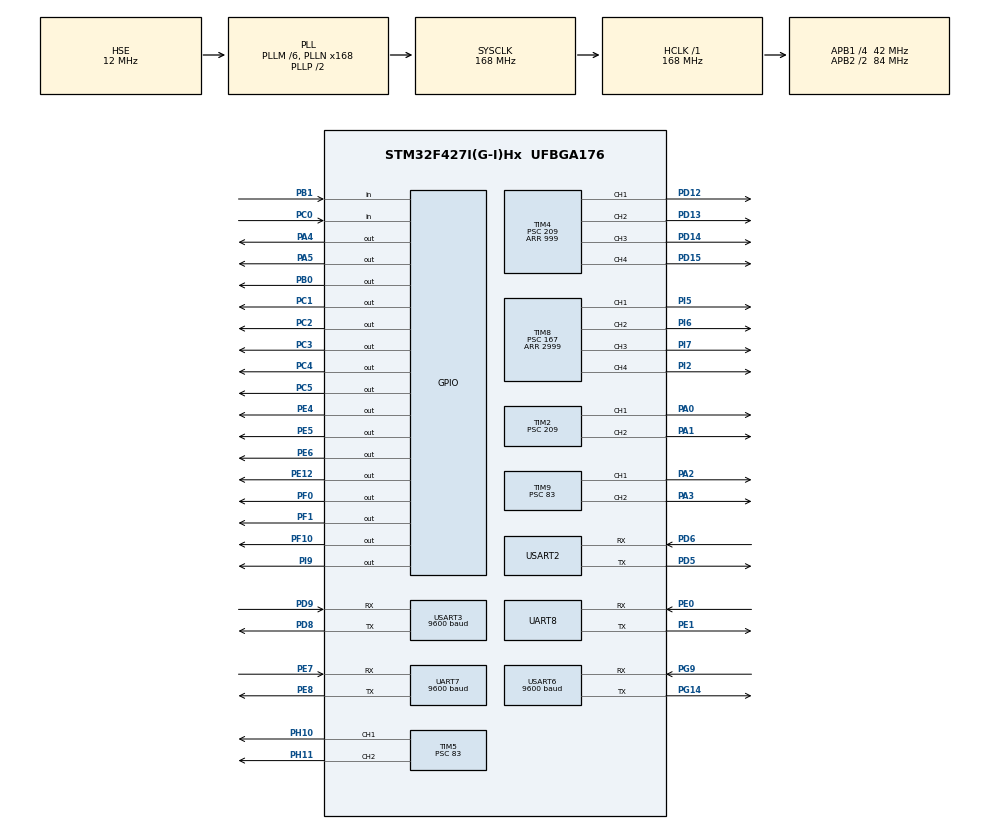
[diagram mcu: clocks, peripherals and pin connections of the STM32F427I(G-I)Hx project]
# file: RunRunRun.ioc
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Dma.Request0=UART7_TX
Dma.UART7_TX.0.Direction=DMA_MEMORY_TO_PERIPH
Dma.UART7_TX.0.FIFOMode=DMA_FIFOMODE_DISABLE
Dma.UART7_TX.0.Instance=DMA1_Stream1
Dma.UART7_TX.0.MemDataAlignment=DMA_MDATAALIGN_BYTE
Dma.UART7_TX.0.MemInc=DMA_MINC_ENABLE
Dma.UART7_TX.0.Mode=DMA_NORMAL
Dma.UART7_TX.0.PeriphDataAlignment=DMA_PDATAALIGN_BYTE
Dma.UART7_TX.0.PeriphInc=DMA_PINC_DISABLE
Dma.UART7_TX.0.Priority=DMA_PRIORITY_LOW
Mcu.Family=STM32F4
Mcu.Name=STM32F427I(G-I)Hx
Mcu.Package=UFBGA176
NVIC.DMA1_Stream1_IRQn=true\:0\:0\:false\:false\:true\:false\:true\:true
NVIC.PriorityGroup=NVIC_PRIORITYGROUP_4
NVIC.TIM1_UP_TIM10_IRQn=true\:0\:0\:false\:false\:true\:true\:true\:true
NVIC.UART7_IRQn=true\:0\:0\:false\:false\:true\:true\:true\:true
NVIC.USART2_IRQn=true\:0\:0\:false\:false\:true\:true\:true\:true
NVIC.USART3_IRQn=true\:0\:0\:false\:false\:true\:true\:true\:true
NVIC.USART6_IRQn=true\:0\:0\:false\:false\:true\:true\:true\:true
PA0/WKUP.Signal=S_TIM2_CH1_ETR
PA1.Signal=S_TIM2_CH2
PA13.Mode=Serial_Wire
PA13.Signal=SYS_JTMS-SWDIO
PA14.Mode=Serial_Wire
PA14.Signal=SYS_JTCK-SWCLK
PA2.Signal=S_TIM9_CH1
PA3.Signal=S_TIM9_CH2
PA4.Signal=GPIO_Output
PA5.Signal=GPIO_Output
PB0.Signal=GPIO_Output
PB1.Signal=GPIO_Input
PC0.Signal=GPIO_Input
PC1.Signal=GPIO_Output
PC2.Signal=GPIO_Output
PC3.Signal=GPIO_Output
PC4.Signal=GPIO_Output
PC5.Signal=GPIO_Output
PD12.Signal=S_TIM4_CH1
PD13.Signal=S_TIM4_CH2
PD14.Signal=S_TIM4_CH3
PD15.Signal=S_TIM4_CH4
PD5.Mode=Asynchronous
PD5.Signal=USART2_TX
PD6.Mode=Asynchronous
PD6.Signal=USART2_RX
PD8.Mode=Asynchronous
PD8.Signal=USART3_TX
PD9.Mode=Asynchronous
PD9.Signal=USART3_RX
PE0.Mode=Asynchronous
PE0.Signal=UART8_RX
PE1.Mode=Asynchronous
PE1.Signal=UART8_TX
PE12.Signal=GPIO_Output
PE4.Signal=GPIO_Output
PE5.Signal=GPIO_Output
PE6.Signal=GPIO_Output
PE7.Mode=Asynchronous
PE7.Signal=UART7_RX
PE8.Mode=Asynchronous
PE8.Signal=UART7_TX
PF0.Signal=GPIO_Output
PF1.Signal=GPIO_Output
PF10.Signal=GPIO_Output
PG14.Mode=Asynchronous
PG14.Signal=USART6_TX
PG9.Mode=Asynchronous
PG9.Signal=USART6_RX
PH0/OSC_IN.Mode=HSE-External-Oscillator
PH0/OSC_IN.Signal=RCC_OSC_IN
PH1/OSC_OUT.Mode=HSE-External-Oscillator
PH1/OSC_OUT.Signal=RCC_OSC_OUT
PH10.Signal=S_TIM5_CH1
PH11.Signal=S_TIM5_CH2
PI2.Signal=S_TIM8_CH4
PI5.Signal=S_TIM8_CH1
PI6.Signal=S_TIM8_CH2
PI7.Signal=S_TIM8_CH3
PI9.Signal=GPIO_Output
ProjectManager.HeapSize=0x200
ProjectManager.StackSize=0x400
ProjectManager.TargetToolchain=MDK-ARM V5.32
RCC.48MHZClocksFreq_Value=84000000
RCC.AHBFreq_Value=168000000
RCC.APB1CLKDivider=RCC_HCLK_DIV4
RCC.APB1Freq_Value=42000000
RCC.APB1TimFreq_Value=84000000
RCC.APB2CLKDivider=RCC_HCLK_DIV2
RCC.APB2Freq_Value=84000000
RCC.APB2TimFreq_Value=168000000
RCC.CortexFreq_Value=168000000
RCC.HCLKFreq_Value=168000000
RCC.HSE_VALUE=12000000
RCC.HSI_VALUE=16000000
RCC.LSE_VALUE=32768
RCC.PLLM=6
RCC.PLLN=168
RCC.PLLSourceVirtual=RCC_PLLSOURCE_HSE
RCC.SYSCLKFreq_VALUE=168000000
RCC.SYSCLKSource=RCC_SYSCLKSOURCE_PLLCLK
RCC.VCOOutputFreq_Value=336000000
SH.S_TIM2_CH1_ETR.0=TIM2_CH1,PWM Generation1 CH1
SH.S_TIM2_CH2.0=TIM2_CH2,PWM Generation2 CH2
SH.S_TIM4_CH1.0=TIM4_CH1,PWM Generation1 CH1
SH.S_TIM4_CH2.0=TIM4_CH2,PWM Generation2 CH2
SH.S_TIM4_CH3.0=TIM4_CH3,PWM Generation3 CH3
SH.S_TIM4_CH4.0=TIM4_CH4,PWM Generation4 CH4
SH.S_TIM5_CH1.0=TIM5_CH1,PWM Generation1 CH1
SH.S_TIM5_CH2.0=TIM5_CH2,PWM Generation2 CH2
SH.S_TIM8_CH1.0=TIM8_CH1,PWM Generation1 CH1
SH.S_TIM8_CH2.0=TIM8_CH2,PWM Generation2 CH2
SH.S_TIM8_CH3.0=TIM8_CH3,PWM Generation3 CH3
SH.S_TIM8_CH4.0=TIM8_CH4,PWM Generation4 CH4
SH.S_TIM9_CH1.0=TIM9_CH1,Output Compare1 CH1
SH.S_TIM9_CH2.0=TIM9_CH2,Output Compare2 CH2
TIM10.Period=999
TIM10.Prescaler=999
TIM2.Channel-PWM\ Generation1\ CH1=TIM_CHANNEL_1
TIM2.Channel-PWM\ Generation2\ CH2=TIM_CHANNEL_2
TIM2.Period=999
TIM2.Prescaler=209
TIM4.Channel-PWM\ Generation1\ CH1=TIM_CHANNEL_1
TIM4.Channel-PWM\ Generation2\ CH2=TIM_CHANNEL_2
TIM4.Channel-PWM\ Generation3\ CH3=TIM_CHANNEL_3
TIM4.Channel-PWM\ Generation4\ CH4=TIM_CHANNEL_4
TIM4.Period=999
TIM4.Prescaler=209
TIM5.Channel-PWM\ Generation1\ CH1=TIM_CHANNEL_1
TIM5.Channel-PWM\ Generation2\ CH2=TIM_CHANNEL_2
TIM5.Period=2999
TIM5.Prescaler=83
TIM8.Channel-PWM\ Generation1\ CH1=TIM_CHANNEL_1
TIM8.Channel-PWM\ Generation2\ CH2=TIM_CHANNEL_2
TIM8.Channel-PWM\ Generation3\ CH3=TIM_CHANNEL_3
TIM8.Channel-PWM\ Generation4\ CH4=TIM_CHANNEL_4
TIM8.Period=2999
TIM8.Prescaler=167
TIM9.Channel-Output\ Compare1\ CH1=TIM_CHANNEL_1
TIM9.Channel-Output\ Compare2\ CH2=TIM_CHANNEL_2
TIM9.OCMode_1=TIM_OCMODE_TOGGLE
TIM9.OCMode_2=TIM_OCMODE_TOGGLE
TIM9.OCPolarity_1=TIM_OCPOLARITY_LOW
TIM9.OCPolarity_2=TIM_OCPOLARITY_LOW
TIM9.Period=167
TIM9.Prescaler=83
UART7.BaudRate=9600
UART7.VirtualMode=Asynchronous
UART8.VirtualMode=Asynchronous
USART2.VirtualMode=VM_ASYNC
USART3.BaudRate=9600
USART3.VirtualMode=VM_ASYNC
USART6.BaudRate=9600
USART6.VirtualMode=VM_ASYNC
VP_TIM10_VS_ClockSourceINT.Mode=Enable_Timer
VP_TIM2_VS_ClockSourceINT.Mode=Internal
VP_TIM4_VS_ClockSourceINT.Mode=Internal
VP_TIM5_VS_ClockSourceINT.Mode=Internal
VP_TIM8_VS_ClockSourceINT.Mode=Internal
VP_TIM9_VS_ClockSourceINT.Mode=Internal
board=custom

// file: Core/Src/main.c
/* USER CODE BEGIN Header */
/**
  ******************************************************************************
  * @file           : main.c
  * @brief          : Main program body
  ******************************************************************************
  * @attention
  *
  * Copyright (c) 2023 STMicroelectronics.
  * All rights reserved.
  *
  * This software is licensed under terms that can be found in the LICENSE file
  * in the root directory of this software component.
  * If no LICENSE file comes with this software, it is provided AS-IS.
  *
  ******************************************************************************
  */
/* USER CODE END Header */
#include "main.h"
#include "dma.h"
#include "tim.h"
#include "usart.h"
#include "gpio.h"

/* USER CODE BEGIN Includes */

#include "chassis.hpp"
#include "connect.hpp"
#include "steer.hpp"
#include "arm.hpp"
#include "run.hpp"
#include "StepMotor.h"
#include "HCSR04.hpp"

/* USER CODE END Includes */

/* USER CODE BEGIN PV */

//麦轮底盘定义
Class_Chassis Chassis;
//胶轮底盘定义
Class_Chassis RChassis;
//机械臂相关舵机定义
Class_Arm Arm;
Class_Steer Arm_Steer[4];
Class_Steer Claw_Steer;
Class_Steer Box_Steer;
//步进电机定义
StepMotor TestMotor1;
//超声测距定义
Class_HCSR04 HC1;

uint32_t tim;
//巡线接收定义
uint8_t LP_Receive_yl;
uint8_t LP_Receive_yr;
uint8_t LP_Receive_x;
//树莓派接收定义
uint8_t B_Receive;
//记录障碍物位置
uint8_t Barrier_Location;

/* USER CODE END PV */

void SystemClock_Config(void);

int main(void)
{

  /* MCU Configuration--------------------------------------------------------*/

  /* Reset of all peripherals, Initializes the Flash interface and the Systick. */
  HAL_Init();

  /* Configure the system clock */
  SystemClock_Config();

  /* Initialize all configured peripherals */
  MX_GPIO_Init();
  MX_DMA_Init();
  MX_TIM4_Init();
  MX_TIM5_Init();
  MX_TIM8_Init();
  MX_TIM2_Init();
  MX_TIM9_Init();
  MX_USART6_UART_Init();
  MX_UART7_Init();
  MX_UART8_Init();
  MX_USART3_UART_Init();
  MX_TIM10_Init();
  MX_USART2_UART_Init();
  /* USER CODE BEGIN 2 */

  //串口通信定时器中断使能
  HAL_TIM_Base_Start_IT(&UART_TRANSMIT_TIM);
  //底盘定时器中断使能（实际上没有用到）
  HAL_TIM_Base_Start_IT(&CHASSIS_MOTOR_CALCULATE_TIM);
  //底盘初始化及工作模式设置
  Chassis.Init(CHASSIS_MOTOR_PWM_DRIVER_TIM, CHASSIS_MOTOR_CALCULATE_TIM);
  Chassis.Set_Control_Method(Control_Method_OPENLOOP);
  RChassis.R_Init(RMOTOR_PWM_DRIVER_TIM, CHASSIS_MOTOR_CALCULATE_TIM);
  //机械臂初始化
  Arm.Init(Arm_Steer, Claw_Steer, Box_Steer);
  //步进电机初始化及工作模式设置
	TestMotor1.init(&htim9, TIM_CHANNEL_1, 1000000U, GPIOF, GPIO_PIN_10, GPIOI, GPIO_PIN_9);
	TestMotor1.Set_Motor_Running_Speed(6400, 6400);
  HAL_TIM_OC_DelayElapsedCallback(&htim9);
	TestMotor1.Set_Motor_Running_Status(0,0);
  //超声测距初始化
  HC1.Init(HCSR04_Trig_GPIO_PIN, HCSR04_Trig_GPIO_Port, HCSR04_Echo_GPIO_PIN, HCSR04_Echo_GPIO_Port);
  //开启巡线接收
  LinePatrol_Receive(&LP_YL_HUART);
  LinePatrol_Receive(&LP_YR_HUART);
  LinePatrol_Receive(&LP_X_HUART);

	HAL_Delay(1000);
  /* USER CODE END 2 */

  /* Infinite loop */
  while (1)
  {

    /* USER CODE BEGIN 3 */
    //		Arm.Arm_Catch();
//		Arm.Box_Steer_Rotate(0);
//		Start_to_Barrier();
//		HAL_Delay(2000);
//		Cross_Barrier();
//    LinePatrol_Catch_LOrange_NoVisual();
	// 	HAL_Delay(2000);
	// 	LinePatrol_Catch_Purple_NoVision();
	// 	HAL_Delay(4000);

  // //避障区返回准备代码
  // HAL_Delay(2000);
  // Chassis.Velocity_Control(-0.3, 0.1, -1);
	// HAL_Delay(2200);
	// Chassis.Velocity_Control(0.7,0.3,0);
	// HAL_Delay(1200);
  // Chassis.Velocity_Control(0,0.5,0);
  // while ((LP_Receive_yl & (uint8_t)0x7F) != (uint8_t)0x38) {}
  // Chassis.Velocity_Control(0,0,0);
  // Catch_Position_Adjust();

  // //避障区改为高地（版本1）
  // Chassis.Velocity_Control(0, 0.1, -1);
	// HAL_Delay(5000);
  // while (LP_Receive_yl != LP_Receive_yr) {}
  // Chassis.Velocity_Control(0,0,0);
  // HAL_Delay(4000);

  // //高地返回准备代码
  // HAL_Delay(2200);
  // Chassis.Velocity_Control(-0.3, 0, 1);
	// HAL_Delay(2500);
  // Chassis.Velocity_Control(0,0,0);
  // HAL_Delay(2200);
  // Chassis.Velocity_Control(0,-0.5,0);
  // while ((LP_Receive_yl & (uint8_t)0x7F) != (uint8_t)0x38) {}
  // Chassis.Velocity_Control(0,0,0);
  // Catch_Position_Adjust();

    //$$$$$$$$$$$$$$$$$$$$$$$$$$$$$$$$$$$$$$$$$$$$$$$$$$$$$$$$$$$$$$$$$$$$$$$$$$$$$$$$$$$$$$$$$$$$$$$$$$$$//
	//现在要用到v2

//	HAL_Delay(1000);
//	Catch_Purple_NoVision_3();
//	Barrier_to_Catch(1);

//	HAL_Delay(500);
//	Arm.Arm_Claw_Steer_Control(-10.0f, -65.0f, 100.0f, 90.0f,1);
//	HAL_Delay(1000);
//	Arm.Arm_Claw_Steer_Control(-10.0f, -65.0f, 100.0f, 90.0f,0);
//	HAL_Delay(1000);
//	Arm.Arm_Catch();
//	HAL_Delay(1000);

	//init
	HAL_Delay(200);
	Arm.Arm_Claw_Steer_Control(-10.0f, -65.0f, 100.0f, 90.0f,0);
	Arm.Box_Steer_Rotate(0);
	HAL_Delay(500);
	Arm.Arm_Claw_Steer_Control(-10.0f, -65.0f, 100.0f, 90.0f,1);
	HAL_Delay(200);
	Arm.Arm_Claw_Steer_Control(-10.0f, -65.0f, 100.0f, 90.0f,0);

//	Whole_Process_Left(0);
	Whole_Process_Right(0);

//	//Place_Brick
//	Chassis.Velocity_Control(0,-0.4,0);
//	while (((LP_Receive_yl & (uint8_t)0x7F) != (uint8_t)0x38) && ((LP_Receive_yl & (uint8_t)0x7F) != (uint8_t)0x7F)) {};
//	Chassis.Velocity_Control(0,0,0);
//
//	HAL_Delay(500);
//	Chassis.Velocity_Control(-0.3, 0.1, -1);
//	HAL_Delay(2100);
//	Chassis.Velocity_Control(-0.7,-0.2,0);
//	HAL_Delay(3000);
//	Chassis.Velocity_Control(0,0,0);
//	HAL_Delay(500);
//	Chassis.Velocity_Control(0,0.3,0);
//	while((LP_Receive_x & (uint8_t) 0x7E) != (uint8_t) 0x7E) {};
//	Chassis.Velocity_Control(0,0,0);
//	HAL_Delay(500);
//	Arm.Box_Steer_Rotate(-90);
//	HAL_Delay(1000);
//	Chassis.Velocity_Control(0,-0.4,0);
//	HAL_Delay(2000);
//	Chassis.Velocity_Control(0,0,0);
//	HAL_Delay(500);
//	Arm.Box_Steer_Rotate(0);
//	HAL_Delay(500);
//	Arm.Box_Steer_Rotate(90);

//
//  Start_to_High();
//  LinePatrol_Catch_LOrange();
// 	HAL_Delay(500);
// 	LinePatrol_Catch_Purple();
//
//  //High_to_Start_Prep
//	Arm.Arm_Claw_Steer_Control(-10.0f, -65.0f, 100.0f, 90.0f,0);
//  HAL_Delay(1000);
//  Chassis.Velocity_Control(-0.3, 0, 1);
//	HAL_Delay(2200);
//  Chassis.Velocity_Control(0,0,0);
//  HAL_Delay(1000);
//  Chassis.Velocity_Control(0,-0.5,0);
//  while ((LP_Receive_yl & (uint8_t)0x7F) != (uint8_t)0x38) {};
//  Chassis.Velocity_Control(0,0,0);
//  Catch_Position_Adjust();
//
//	//High_to_Start
//	Chassis.Velocity_Control(0,-0.5,0);
//	HAL_Delay(2000);
//	while (LP_Receive_yl != (uint8_t)0x80) {};
//	Chassis.Velocity_Control(0,0,0);
//	TestMotor1.Set_Motor_Running_Status(1,1);
//	HAL_Delay(14000);
//	TestMotor1.Set_Motor_Running_Status(0,1);
//	Chassis.Velocity_Control(0,-0.2,0);
//	RChassis.R_Velocity_Control(-0.2,-0.2);
//	HAL_Delay(3000);
//	while((LP_Receive_x & (uint8_t) 0x7E) != (uint8_t) 0x7E) {};
//	TestMotor1.Set_Motor_Running_Status(1,0);
//	Chassis.Velocity_Control(0,0,0);
//	RChassis.R_Velocity_Control(0,0);
//	HAL_Delay(14000);
//	TestMotor1.Set_Motor_Running_Status(0,0);
//	HAL_Delay(2000);
//
//	//Place_Brick
//	Chassis.Velocity_Control(0,-0.4,0);
//	while (((LP_Receive_yl & (uint8_t)0x7F) != (uint8_t)0x38) && ((LP_Receive_yl & (uint8_t)0x7F) != (uint8_t)0x7F)) {};
//	Chassis.Velocity_Control(0,0,0);
//	Catch_Position_Adjust();
//
//	HAL_Delay(500);
//	Chassis.Velocity_Control(-0.3, 0.1, -1);
//	HAL_Delay(2100);
//	Chassis.Velocity_Control(-0.5,0.3,0);
//	HAL_Delay(4000);
//	Chassis.Velocity_Control(0,0,0);
//	HAL_Delay(500);
//	Chassis.Velocity_Control(0,-0.3,0);
//	while((LP_Receive_x & (uint8_t) 0x7E) != (uint8_t) 0x7E) {};
//	Chassis.Velocity_Control(0,0,0);
//	HAL_Delay(500);
//	Arm.Box_Steer_Rotate(-90);
//	HAL_Delay(1000);
//	Chassis.Velocity_Control(0,-0.4,0);
//	HAL_Delay(2000);
//	Chassis.Velocity_Control(0,0,0);
//	HAL_Delay(500);
//	Arm.Box_Steer_Rotate(0);
//	HAL_Delay(500);
//	Arm.Box_Steer_Rotate(90);

//  TestMotor1.Set_Motor_Running_Status(1,0);
//	HAL_Delay(20000);

	  //Start_to_High_Again

//	  Arm.Box_Steer_Rotate(0);
//	  Arm.Arm_Claw_Steer_Control(-10.0f, -65.0f, 100.0f, 90.0f,0);
//
//    Start_to_High();
//
//	  //L_Skip
//	  L_Skip();

//    //LinePatrol_Catch_LOrange();
//
//	  LinePatrol_Catch_Purple_NoVision();
//
//	  //High_Spin
//    High_Spin();
//
//		LinePatrol_Catch_LOrange_NoVisual();
//
//	//Spin_Back
//    Spin_Back();
//
//	//High_to_Start
//    High_to_Start();
//
//	//Place_Brick
//	Place_Brick();

  }
  /* USER CODE END 3 */
}

void SystemClock_Config(void)
{
  RCC_OscInitTypeDef RCC_OscInitStruct = {0};
  RCC_ClkInitTypeDef RCC_ClkInitStruct = {0};

  /** Configure the main internal regulator output voltage
  */
  __HAL_RCC_PWR_CLK_ENABLE();
  __HAL_PWR_VOLTAGESCALING_CONFIG(PWR_REGULATOR_VOLTAGE_SCALE1);

  /** Initializes the RCC Oscillators according to the specified parameters
  * in the RCC_OscInitTypeDef structure.
  */
  RCC_OscInitStruct.OscillatorType = RCC_OSCILLATORTYPE_HSE;
  RCC_OscInitStruct.HSEState = RCC_HSE_ON;
  RCC_OscInitStruct.PLL.PLLState = RCC_PLL_ON;
  RCC_OscInitStruct.PLL.PLLSource = RCC_PLLSOURCE_HSE;
  RCC_OscInitStruct.PLL.PLLM = 6;
  RCC_OscInitStruct.PLL.PLLN = 168;
  RCC_OscInitStruct.PLL.PLLP = RCC_PLLP_DIV2;
  RCC_OscInitStruct.PLL.PLLQ = 4;
  if (HAL_RCC_OscConfig(&RCC_OscInitStruct) != HAL_OK)
  {
    Error_Handler();
  }

  /** Initializes the CPU, AHB and APB buses clocks
  */
  RCC_ClkInitStruct.ClockType = RCC_CLOCKTYPE_HCLK|RCC_CLOCKTYPE_SYSCLK
                              |RCC_CLOCKTYPE_PCLK1|RCC_CLOCKTYPE_PCLK2;
  RCC_ClkInitStruct.SYSCLKSource = RCC_SYSCLKSOURCE_PLLCLK;
  RCC_ClkInitStruct.AHBCLKDivider = RCC_SYSCLK_DIV1;
  RCC_ClkInitStruct.APB1CLKDivider = RCC_HCLK_DIV4;
  RCC_ClkInitStruct.APB2CLKDivider = RCC_HCLK_DIV2;

  if (HAL_RCC_ClockConfig(&RCC_ClkInitStruct, FLASH_LATENCY_5) != HAL_OK)
  {
    Error_Handler();
  }
}

void Error_Handler(void)
{
  __disable_irq();
  while (1)
  {
  }
}
